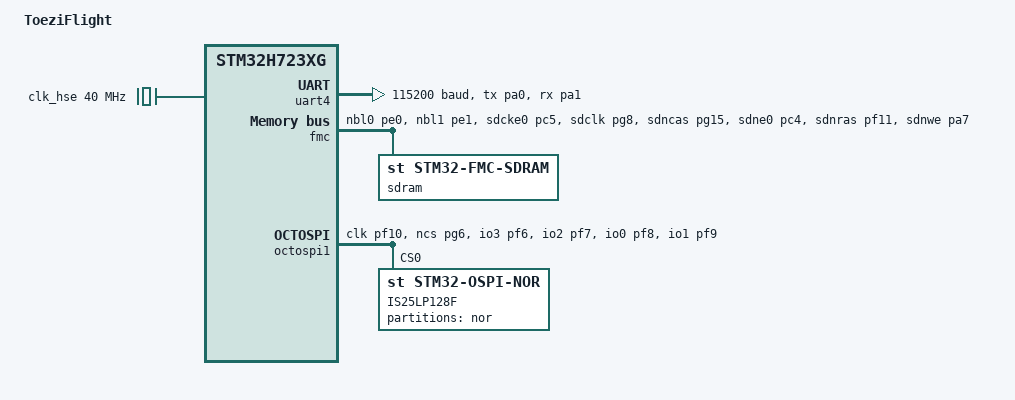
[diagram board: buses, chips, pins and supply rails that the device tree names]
/dts-v1/;
#include <st/h7/stm32h723Xg.dtsi>
#include <st/h7/stm32h723zgtx-pinctrl.dtsi>
#include <zephyr/dt-bindings/input/input-event-codes.h>
#include <zephyr/dt-bindings/flash_controller/ospi.h>


/ {
	model = "ToeziFlight";
	compatible = "Toezi,ToeziFlight";

	chosen {
		zephyr,console = &uart4;
		zephyr,shell-uart = &uart4;
		zephyr,dtcm = &dtcm;
		zephyr,sram = &sram0;
		zephyr,flash = &flash0;
		zephyr,flash-controller = &IS25LP128F;
		/* other chosen settings  for your hardware */
	};

	sdram1: sdram@C0000000 {
		compatible = "zephyr,memory-region", "mmio-sram";
		device_type = "memory";
		reg = <0xC0000000 DT_SIZE_M(16)>;
		zephyr,memory-region = "SDRAM1";
		zephyr,memory-attr = <( DT_MEM_ARM(ATTR_MPU_RAM) )>;
	};

	aliases {
		spi-flash0 = &IS25LP128F;
	};
};

&clk_lsi {
	status = "okay";
};

&clk_hsi48 {
	status = "okay";
};

&clk_hse {
	clock-frequency = <DT_FREQ_M(40)>;
	status = "okay";
};

&uart4 {
	pinctrl-0 = <&uart4_tx_pa0 &uart4_rx_pa1>;
	pinctrl-names = "default";
	current-speed = <115200>;
	status = "okay";
};

&pll {
	div-m = <4>;
	mul-n = <55>;
	div-p = <1>;
	div-q = <5>;
	div-r = <2>;
	clocks = <&clk_hse>;
	status = "okay";
};

&pll2 {
	div-m = <4>;
	mul-n = <22>;
	div-p = <2>;
	div-q = <2>;
	div-r = <1>;
	clocks = <&clk_hse>;
	status = "okay";
};

&rcc {
	clocks = <&pll>;
	clock-frequency = <DT_FREQ_M(550)>;
	d1cpre = <1>;
	hpre = <2>;    /* HCLK: 275   MHz */
	d1ppre = <2>;  /* APB1: 137.5 MHz */
	d2ppre1 = <2>; /* APB2: 137.5 MHz */
	d2ppre2 = <2>; /* APB3: 137.5 MHz */
	d3ppre = <2>;  /* APB4: 137.5 MHz */
};



&fmc {
    status = "okay";
    pinctrl-0 = < &fmc_nbl0_pe0 &fmc_nbl1_pe1 &fmc_sdcke0_pc5
			&fmc_sdclk_pg8 &fmc_sdncas_pg15 &fmc_sdne0_pc4 &fmc_sdnras_pf11 
			&fmc_sdnwe_pa7 &fmc_a14_pg4 &fmc_a15_pg5

			&fmc_a0_pf0 &fmc_a1_pf1 &fmc_a2_pf2 &fmc_a3_pf3 &fmc_a4_pf4 &fmc_a5_pf5
			&fmc_a6_pf12 &fmc_a7_pf13 &fmc_a8_pf14 &fmc_a9_pf15 &fmc_a10_pg0
			&fmc_a11_pg1

			&fmc_d0_pd14 &fmc_d1_pd15 &fmc_d2_pd0 &fmc_d3_pd1 &fmc_d4_pe7 &fmc_d5_pe8
			&fmc_d6_pc12 &fmc_d7_pe10 &fmc_d8_pa4 &fmc_d9_pe12 &fmc_d10_pe13
			&fmc_d11_pe14 &fmc_d12_pe15 &fmc_d13_pd8 &fmc_d14_pd9
			&fmc_d15_pd10>;

	pinctrl-names = "default";
	clocks = <&rcc STM32_CLOCK_BUS_AHB3 0x1000>,
		 <&rcc STM32_SRC_PLL2_R FMC_SEL(2)>;
	compatible = "st,stm32h7-fmc";
    sdram {
        status = "okay";
        power-up-delay = <100>;
        num-auto-refresh = <8>;
        mode-register = <0x220>;
        refresh-rate = <0x6A3>;
		compatible = "st,stm32-fmc-sdram";
        bank@0 {
            reg = <0>;
            st,sdram-control = <STM32_FMC_SDRAM_NC_9
                                STM32_FMC_SDRAM_NR_12
                                STM32_FMC_SDRAM_MWID_16
                                STM32_FMC_SDRAM_NB_4
                                STM32_FMC_SDRAM_CAS_2
                                STM32_FMC_SDRAM_SDCLK_PERIOD_2
                                STM32_FMC_SDRAM_RBURST_ENABLE
                                STM32_FMC_SDRAM_RPIPE_2>;
            st,sdram-timing = <2 8 5 7 3 2 2>;
        };
    };
};




&octospi1 {
	pinctrl-0 = <&octospim_p1_clk_pf10 &octospim_p1_ncs_pg6
		     &octospim_p1_io3_pf6 &octospim_p1_io2_pf7
		     &octospim_p1_io0_pf8 &octospim_p1_io1_pf9>;
	pinctrl-names = "default";
	status = "okay";

	IS25LP128F: ospi-nor-flash@0 {
		compatible = "st,stm32-ospi-nor";
		reg = <0>;
		ospi-max-frequency = <DT_FREQ_M(100)>;
		size = <DT_SIZE_M(16)>; 
		spi-bus-width = <OSPI_QUAD_MODE>;
		data-rate = <OSPI_STR_TRANSFER>;
		status = "okay";

		partitions {
			   compatible = "fixed-partitions";
			   #address-cells = <1>;
			   #size-cells = <1>;
			   partition@0 {
					label = "nor";
			       	reg = <0x0 DT_SIZE_M(16)>;
			   };
		};
	};
};

/*
zephyr_udc0: &usbotg_hs {
	pinctrl-0 = <&usb_otg_hs_ulpi_ck_pa5
			&usb_otg_hs_ulpi_d0_pa3
			&usb_otg_hs_ulpi_d1_pb0
			&usb_otg_hs_ulpi_d2_pb1
			&usb_otg_hs_ulpi_d3_pb10
			&usb_otg_hs_ulpi_d4_pb11
			&usb_otg_hs_ulpi_d5_pb12
			&usb_otg_hs_ulpi_d6_pb13
			&usb_otg_hs_ulpi_d7_pb5
			&usb_otg_hs_ulpi_stp_pc0
			&usb_otg_hs_ulpi_dir_pi11
			&usb_otg_hs_ulpi_nxt_ph4>;
	pinctrl-names = "default";
	maximum-speed = "high-speed";
	// Include the USB1ULPIEN clock enable bit
	clocks = <&rcc STM32_CLOCK_BUS_AHB1 0x06000000>,
	<&rcc STM32_SRC_HSI48 USB_SEL(3)>;
phys = <&otghs_ulpi_phy>;
status = "okay";
}; */

